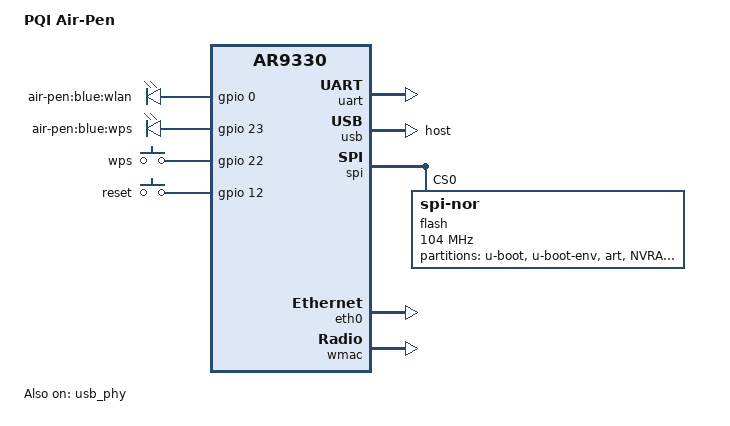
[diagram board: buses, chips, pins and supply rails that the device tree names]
// SPDX-License-Identifier: GPL-2.0-or-later OR MIT
/dts-v1/;

#include <dt-bindings/gpio/gpio.h>
#include <dt-bindings/input/input.h>

#include "ar9330.dtsi"

/ {
	model = "PQI Air-Pen";
	compatible = "pqi,air-pen", "qca,ar9330";

	aliases {
		serial0 = &uart;
		led-boot = &led_wlan;
		led-failsafe = &led_wlan;
		led-upgrade = &led_wlan;
	};

	leds {
		compatible = "gpio-leds";

		led_wlan: wlan {
			label = "air-pen:blue:wlan";
			gpios = <&gpio 0 GPIO_ACTIVE_HIGH>;
			linux,default-trigger = "phy0tpt";
		};

		wps {
			label = "air-pen:blue:wps";
			gpios = <&gpio 23 GPIO_ACTIVE_HIGH>;
		};
	};

	keys {
		compatible = "gpio-keys";

		wps {
			label = "wps";
			linux,code = <KEY_WPS_BUTTON>;
			gpios = <&gpio 22 GPIO_ACTIVE_HIGH>;
			debounce-interval = <60>;
		};

		reset {
			label = "reset";
			linux,code = <KEY_RESTART>;
			gpios = <&gpio 12 GPIO_ACTIVE_HIGH>;
			debounce-interval = <60>;
		};
	};
};

&uart {
	status = "okay";
};

&gpio {
	status = "okay";
};

&usb {
	dr_mode = "host";
	status = "okay";
};

&usb_phy {
	status = "okay";
};

&spi {
	status = "okay";

	num-cs = <1>;

	flash@0 {
		compatible = "jedec,spi-nor";
		spi-max-frequency = <104000000>;
		reg = <0>;

		partitions {
			compatible = "fixed-partitions";
			#address-cells = <1>;
			#size-cells = <1>;

			partition@0 {
				label = "u-boot";
				reg = <0x000000 0x040000>;
				read-only;
			};

			partition@40000 {
				label = "u-boot-env";
				reg = <0x040000 0x010000>;
			};

			art: partition@50000 {
				label = "art";
				reg = <0x050000 0x010000>;
				read-only;
			};

			partition@60000 {
				label = "NVRAM";
				reg = <0x060000 0x010000>;
				read-only;
			};

			partition@70000 {
				compatible = "denx,uimage";
				label = "firmware";
				reg = <0x070000 0x780000>;
			};

			partition@7f0000 {
				label = "CONF";
				reg = <0x7f0000 0x010000>;
				read-only;
			};
		};
	};
};

&eth0 {
	status = "okay";

	mtd-mac-address = <&art 0x1002>;

	gmac-config {
		device = <&gmac>;

		switch-phy-addr-swap = <0>;
		switch-phy-swap = <0>;
	};
};

&eth1 {
	status = "okay";

	compatible = "syscon", "simple-mfd";
};

&wmac {
	status = "okay";

	mtd-cal-data = <&art 0x1000>;
	mtd-mac-address = <&art 0x2>;
};
